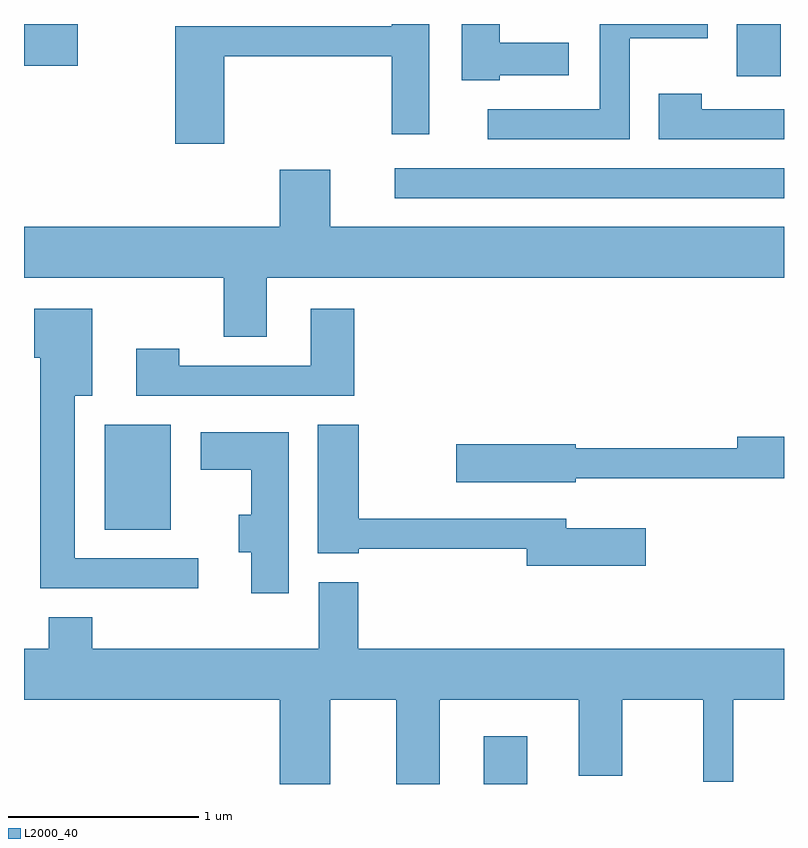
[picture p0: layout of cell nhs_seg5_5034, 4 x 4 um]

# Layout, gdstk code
import gdstk
lib = gdstk.Library(unit=1e-6, precision=1e-09)
def R(c, l, rs):  # rectangles x0, y0, x1, y1
    for r in rs: c.add(gdstk.rectangle(r[:2], r[2:], *l))
def P(c, l, *ps):  # polygons
    for p in ps: c.add(gdstk.Polygon(p, *l))
L2000_40 = (2000, 40)

nhs_seg5_5034 = lib.new_cell('nhs_seg5_5034')
R(nhs_seg5_5034, L2000_40, [(336.031,1514.072,336.259,1514.324), (334.036,1515.411,334.384,1515.964), (335.563,1517.156,337.611,1517.314), (337.361,1517.796,337.594,1518.072), (333.611,1517.851,333.894,1518.072)])
P(nhs_seg5_5034, L2000_40, [(336.114,1517.801),(336.479,1517.801),(336.479,1517.974),(336.114,1517.974),(336.114,1518.072),(335.916,1518.072),(335.916,1517.776),(336.114,1517.776)],
  [(336.799,1517.996),(337.209,1517.996),(337.209,1518.072),(336.641,1518.072),(336.641,1517.624),(336.053,1517.624),(336.053,1517.466),(336.799,1517.466)],
  [(334.664,1517.901),(335.546,1517.901),(335.546,1517.491),(335.744,1517.491),(335.744,1518.072),(335.546,1518.072),(335.546,1518.059),(334.406,1518.059),(334.406,1517.441),(334.664,1517.441)],
  [(337.611,1517.624),(337.179,1517.624),(337.179,1517.704),(336.951,1517.704),(336.951,1517.466),(337.611,1517.466)],
  [(334.889,1516.736),(337.611,1516.736),(337.611,1517.004),(335.224,1517.004),(335.224,1517.304),(334.956,1517.304),(334.956,1517.004),(333.611,1517.004),(333.611,1516.736),(334.661,1516.736),(334.661,1516.426),(334.889,1516.426)],
  [(334.528,1515.259),(333.879,1515.259),(333.879,1516.116),(333.969,1516.116),(333.969,1516.574),(333.666,1516.574),(333.666,1516.316),(333.696,1516.316),(333.696,1515.101),(334.528,1515.101)],
  [(335.349,1516.574),(335.121,1516.574),(335.121,1516.274),(334.429,1516.274),(334.429,1516.364),(334.201,1516.364),(334.201,1516.116),(335.349,1516.116)],
  [(336.884,1515.419),(336.464,1515.419),(336.464,1515.469),(335.374,1515.469),(335.374,1515.964),(335.156,1515.964),(335.156,1515.286),(335.374,1515.286),(335.374,1515.311),(336.256,1515.311),(336.256,1515.221),(336.884,1515.221)],
  [(335.004,1515.924),(334.541,1515.924),(334.541,1515.726),(334.806,1515.726),(334.806,1515.489),(334.741,1515.489),(334.741,1515.291),(334.806,1515.291),(334.806,1515.076),(335.004,1515.076)],
  [(336.514,1515.681),(337.611,1515.681),(337.611,1515.899),(337.366,1515.899),(337.366,1515.839),(336.514,1515.839),(336.514,1515.859),(335.886,1515.859),(335.886,1515.661),(336.514,1515.661)],
  [(335.224,1514.516),(335.571,1514.516),(335.571,1514.072),(335.799,1514.072),(335.799,1514.516),(336.531,1514.516),(336.531,1514.116),(336.759,1514.116),(336.759,1514.516),(337.186,1514.516),(337.186,1514.083),(337.344,1514.083),(337.344,1514.516),(337.611,1514.516),(337.611,1514.784),(335.369,1514.784),(335.369,1515.134),(335.161,1515.134),(335.161,1514.784),(333.969,1514.784),(333.969,1514.949),(333.741,1514.949),(333.741,1514.784),(333.611,1514.784),(333.611,1514.516),(334.956,1514.516),(334.956,1514.072),(335.224,1514.072)])

lib.write_gds('nhs_seg5_5034.gds')
